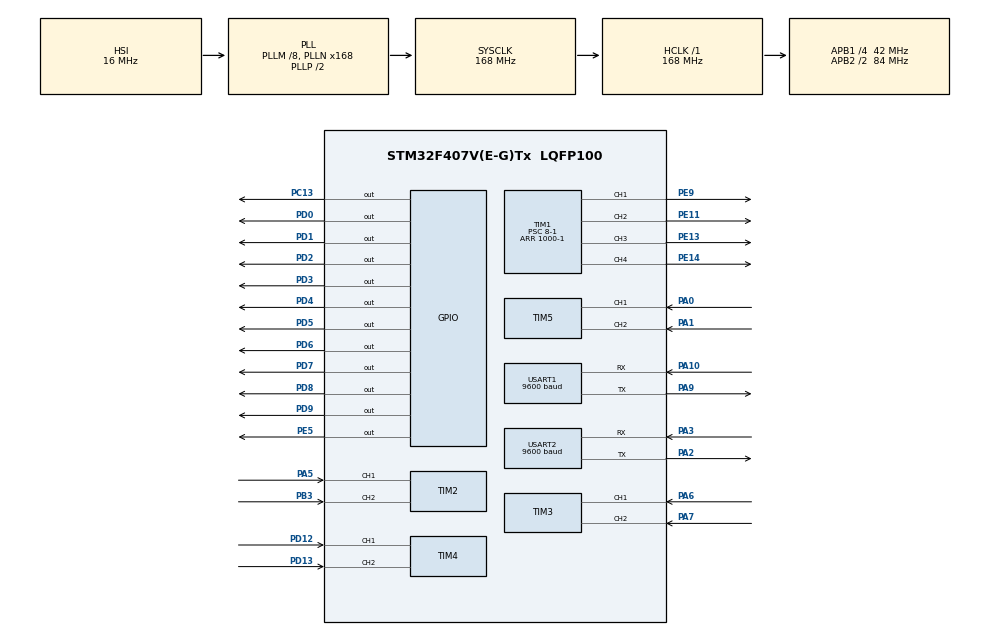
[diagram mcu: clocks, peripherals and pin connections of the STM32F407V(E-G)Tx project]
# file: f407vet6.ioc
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Dma.Request0=USART1_RX
Dma.Request1=USART1_TX
Dma.Request2=USART2_RX
Dma.Request3=USART2_TX
Dma.USART1_RX.0.Direction=DMA_PERIPH_TO_MEMORY
Dma.USART1_RX.0.FIFOMode=DMA_FIFOMODE_DISABLE
Dma.USART1_RX.0.Instance=DMA2_Stream2
Dma.USART1_RX.0.MemDataAlignment=DMA_MDATAALIGN_BYTE
Dma.USART1_RX.0.MemInc=DMA_MINC_ENABLE
Dma.USART1_RX.0.Mode=DMA_CIRCULAR
Dma.USART1_RX.0.PeriphDataAlignment=DMA_PDATAALIGN_BYTE
Dma.USART1_RX.0.PeriphInc=DMA_PINC_DISABLE
Dma.USART1_RX.0.Priority=DMA_PRIORITY_LOW
Dma.USART1_TX.1.Direction=DMA_MEMORY_TO_PERIPH
Dma.USART1_TX.1.FIFOMode=DMA_FIFOMODE_DISABLE
Dma.USART1_TX.1.Instance=DMA2_Stream7
Dma.USART1_TX.1.MemDataAlignment=DMA_MDATAALIGN_BYTE
Dma.USART1_TX.1.MemInc=DMA_MINC_ENABLE
Dma.USART1_TX.1.Mode=DMA_NORMAL
Dma.USART1_TX.1.PeriphDataAlignment=DMA_PDATAALIGN_BYTE
Dma.USART1_TX.1.PeriphInc=DMA_PINC_DISABLE
Dma.USART1_TX.1.Priority=DMA_PRIORITY_LOW
Dma.USART2_RX.2.Direction=DMA_PERIPH_TO_MEMORY
Dma.USART2_RX.2.FIFOMode=DMA_FIFOMODE_DISABLE
Dma.USART2_RX.2.Instance=DMA1_Stream5
Dma.USART2_RX.2.MemDataAlignment=DMA_MDATAALIGN_BYTE
Dma.USART2_RX.2.MemInc=DMA_MINC_ENABLE
Dma.USART2_RX.2.Mode=DMA_CIRCULAR
Dma.USART2_RX.2.PeriphDataAlignment=DMA_PDATAALIGN_BYTE
Dma.USART2_RX.2.PeriphInc=DMA_PINC_DISABLE
Dma.USART2_RX.2.Priority=DMA_PRIORITY_LOW
Dma.USART2_TX.3.Direction=DMA_MEMORY_TO_PERIPH
Dma.USART2_TX.3.FIFOMode=DMA_FIFOMODE_DISABLE
Dma.USART2_TX.3.Instance=DMA1_Stream6
Dma.USART2_TX.3.MemDataAlignment=DMA_MDATAALIGN_BYTE
Dma.USART2_TX.3.MemInc=DMA_MINC_ENABLE
Dma.USART2_TX.3.Mode=DMA_NORMAL
Dma.USART2_TX.3.PeriphDataAlignment=DMA_PDATAALIGN_BYTE
Dma.USART2_TX.3.PeriphInc=DMA_PINC_DISABLE
Dma.USART2_TX.3.Priority=DMA_PRIORITY_LOW
FREERTOS.Tasks01=defaultTask,24,128,StartDefaultTask,Default,NULL,Dynamic,NULL,NULL;MonitorTask,8,512,RTOS_Monitor_StartTask,As weak,NULL,Dynamic,NULL,NULL;ControlTask,48,1024,RTOS_Control_StartTask,As weak,NULL,Dynamic,NULL,NULL;UARTTask,24,1024,RTOS_UART_StartTask,As weak,NULL,Dynamic,NULL,NULL
Mcu.Family=STM32F4
Mcu.Name=STM32F407V(E-G)Tx
Mcu.Package=LQFP100
NVIC.DMA1_Stream5_IRQn=true\:5\:0\:false\:false\:true\:true\:false\:true\:true
NVIC.DMA1_Stream6_IRQn=true\:5\:0\:false\:false\:true\:true\:false\:true\:true
NVIC.DMA2_Stream2_IRQn=true\:5\:0\:false\:false\:true\:true\:false\:true\:true
NVIC.DMA2_Stream7_IRQn=true\:5\:0\:false\:false\:true\:true\:false\:true\:true
NVIC.PriorityGroup=NVIC_PRIORITYGROUP_4
NVIC.TIM7_IRQn=true\:15\:0\:false\:false\:true\:false\:false\:true\:true
NVIC.TimeBase=TIM7_IRQn
NVIC.TimeBaseIP=TIM7
NVIC.USART1_IRQn=true\:5\:0\:false\:false\:true\:true\:true\:true\:true
PA0-WKUP.Signal=S_TIM5_CH1
PA1.Signal=S_TIM5_CH2
PA10.Mode=Asynchronous
PA10.Signal=USART1_RX
PA13.Mode=Serial_Wire
PA13.Signal=SYS_JTMS-SWDIO
PA14.Mode=Serial_Wire
PA14.Signal=SYS_JTCK-SWCLK
PA2.Mode=Asynchronous
PA2.Signal=USART2_TX
PA3.Mode=Asynchronous
PA3.Signal=USART2_RX
PA5.Signal=S_TIM2_CH1_ETR
PA6.Signal=S_TIM3_CH1
PA7.Signal=S_TIM3_CH2
PA9.Mode=Asynchronous
PA9.Signal=USART1_TX
PB3.Signal=S_TIM2_CH2
PC13-ANTI_TAMP.Signal=GPIO_Output
PD0.Signal=GPIO_Output
PD1.Signal=GPIO_Output
PD12.Signal=S_TIM4_CH1
PD13.Signal=S_TIM4_CH2
PD2.Signal=GPIO_Output
PD3.Signal=GPIO_Output
PD4.Signal=GPIO_Output
PD5.Signal=GPIO_Output
PD6.Signal=GPIO_Output
PD7.Signal=GPIO_Output
PD8.Signal=GPIO_Output
PD9.Signal=GPIO_Output
PE11.Signal=S_TIM1_CH2
PE13.Signal=S_TIM1_CH3
PE14.Signal=S_TIM1_CH4
PE5.Signal=GPIO_Output
PE9.Signal=S_TIM1_CH1
PH0-OSC_IN.Mode=HSE-External-Oscillator
PH0-OSC_IN.Signal=RCC_OSC_IN
PH1-OSC_OUT.Mode=HSE-External-Oscillator
PH1-OSC_OUT.Signal=RCC_OSC_OUT
ProjectManager.HeapSize=0x200
ProjectManager.StackSize=0x400
ProjectManager.TargetToolchain=CMake
RCC.48MHZClocksFreq_Value=84000000
RCC.AHBFreq_Value=168000000
RCC.APB1CLKDivider=RCC_HCLK_DIV4
RCC.APB1Freq_Value=42000000
RCC.APB1TimFreq_Value=84000000
RCC.APB2CLKDivider=RCC_HCLK_DIV2
RCC.APB2Freq_Value=84000000
RCC.APB2TimFreq_Value=168000000
RCC.CortexFreq_Value=168000000
RCC.HCLKFreq_Value=168000000
RCC.HSE_VALUE=25000000
RCC.HSI_VALUE=16000000
RCC.LSE_VALUE=32768
RCC.PLLM=8
RCC.PLLN=168
RCC.SYSCLKFreq_VALUE=168000000
RCC.SYSCLKSource=RCC_SYSCLKSOURCE_PLLCLK
RCC.VCOOutputFreq_Value=336000000
SH.S_TIM1_CH1.0=TIM1_CH1,PWM Generation1 CH1
SH.S_TIM1_CH2.0=TIM1_CH2,PWM Generation2 CH2
SH.S_TIM1_CH3.0=TIM1_CH3,PWM Generation3 CH3
SH.S_TIM1_CH4.0=TIM1_CH4,PWM Generation4 CH4
SH.S_TIM2_CH1_ETR.0=TIM2_CH1,Encoder_Interface
SH.S_TIM2_CH2.0=TIM2_CH2,Encoder_Interface
SH.S_TIM3_CH1.0=TIM3_CH1,Encoder_Interface
SH.S_TIM3_CH2.0=TIM3_CH2,Encoder_Interface
SH.S_TIM4_CH1.0=TIM4_CH1,Encoder_Interface
SH.S_TIM4_CH2.0=TIM4_CH2,Encoder_Interface
SH.S_TIM5_CH1.0=TIM5_CH1,Encoder_Interface
SH.S_TIM5_CH2.0=TIM5_CH2,Encoder_Interface
TIM1.Channel-PWM\ Generation1\ CH1=TIM_CHANNEL_1
TIM1.Channel-PWM\ Generation2\ CH2=TIM_CHANNEL_2
TIM1.Channel-PWM\ Generation3\ CH3=TIM_CHANNEL_3
TIM1.Channel-PWM\ Generation4\ CH4=TIM_CHANNEL_4
TIM1.Period=1000-1
TIM1.Prescaler=8-1
TIM2.EncoderMode=TIM_ENCODERMODE_TI12
TIM2.IC1Filter=15
TIM2.IC2Filter=15
TIM3.EncoderMode=TIM_ENCODERMODE_TI12
TIM3.IC1Filter=15
TIM3.IC2Filter=15
TIM4.EncoderMode=TIM_ENCODERMODE_TI12
TIM4.IC1Filter=15
TIM4.IC2Filter=15
TIM5.EncoderMode=TIM_ENCODERMODE_TI12
TIM5.IC1Filter=15
TIM5.IC2Filter=15
USART1.BaudRate=9600
USART1.VirtualMode=VM_ASYNC
USART2.BaudRate=9600
USART2.VirtualMode=VM_ASYNC
VP_FREERTOS_VS_CMSIS_V2.Mode=CMSIS_V2
VP_SYS_VS_tim7.Mode=TIM7
VP_TIM1_VS_ClockSourceINT.Mode=Internal
board=custom

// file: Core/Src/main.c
/* USER CODE BEGIN Header */
/**
  ******************************************************************************
  * @file           : main.c
  * @brief          : Main program body
  ******************************************************************************
  * @attention
  *
  * Copyright (c) 2026 STMicroelectronics.
  * All rights reserved.
  *
  * This software is licensed under terms that can be found in the LICENSE file
  * in the root directory of this software component.
  * If no LICENSE file comes with this software, it is provided AS-IS.
  *
  ******************************************************************************
  */
/* USER CODE END Header */
#include "main.h"
#include "cmsis_os.h"
#include "dma.h"
#include "tim.h"
#include "usart.h"
#include "gpio.h"
#include "crc.h"
#include "rng.h"

/* USER CODE BEGIN Includes */
#include "system_delay.h"
#if defined(SYS_LOG_USE_RTT)
#include "system_log.h"
#include "system_log_rtt.h"
#endif
/* USER CODE END Includes */

/* USER CODE BEGIN PV */
#if defined(SYS_LOG_USE_RTT)
static system_log_rtt_t s_log_rtt;
#endif

/* USER CODE END PV */

void SystemClock_Config(void);
void MX_FREERTOS_Init(void);

int main(void)
{

  /* MCU Configuration--------------------------------------------------------*/

  /* Reset of all peripherals, Initializes the Flash interface and the Systick. */
  HAL_Init();

  /* Configure the system clock */
  SystemClock_Config();

  /* Initialize all configured peripherals */
  MX_GPIO_Init();
  MX_DMA_Init();
  MX_TIM1_Init();
  MX_USART1_UART_Init();
  MX_TIM2_Init();
  MX_TIM3_Init();
  MX_TIM4_Init();
  MX_TIM5_Init();
  MX_USART2_UART_Init();
  MX_CRC_Init();
  MX_RNG_Init();
  /* USER CODE BEGIN 2 */
  Sys_Delay_Init();
#if defined(SYS_LOG_USE_RTT)
  Sys_Log_RTT_Init(&s_log_rtt, "rtt", 0u);
  Sys_Log_Init(&s_log_rtt.base);
  Sys_Log_SetLevel(SYS_LOG_LEVEL_INFO);
  SYS_LOG_INFO("BOOT", "RTT log initialized");
#endif
  /* USER CODE END 2 */

  /* Init scheduler */
  osKernelInitialize();  /* Call init function for freertos objects (in cmsis_os2.c) */
  MX_FREERTOS_Init();

  /* Start scheduler */
  osKernelStart();

  /* We should never get here as control is now taken by the scheduler */

  /* Infinite loop */
  while (1)
  {

  }
}

void SystemClock_Config(void)
{
  RCC_OscInitTypeDef RCC_OscInitStruct = {0};
  RCC_ClkInitTypeDef RCC_ClkInitStruct = {0};

  /** Configure the main internal regulator output voltage
  */
  __HAL_RCC_PWR_CLK_ENABLE();
  __HAL_PWR_VOLTAGESCALING_CONFIG(PWR_REGULATOR_VOLTAGE_SCALE1);

  /** Initializes the RCC Oscillators according to the specified parameters
  * in the RCC_OscInitTypeDef structure.
  */
  RCC_OscInitStruct.OscillatorType = RCC_OSCILLATORTYPE_HSI;
  RCC_OscInitStruct.HSIState = RCC_HSI_ON;
  RCC_OscInitStruct.HSICalibrationValue = RCC_HSICALIBRATION_DEFAULT;
  RCC_OscInitStruct.PLL.PLLState = RCC_PLL_ON;
  RCC_OscInitStruct.PLL.PLLSource = RCC_PLLSOURCE_HSI;
  RCC_OscInitStruct.PLL.PLLM = 8;
  RCC_OscInitStruct.PLL.PLLN = 168;
  RCC_OscInitStruct.PLL.PLLP = RCC_PLLP_DIV2;
  RCC_OscInitStruct.PLL.PLLQ = 4;
  if (HAL_RCC_OscConfig(&RCC_OscInitStruct) != HAL_OK)
  {
    Error_Handler();
  }

  /** Initializes the CPU, AHB and APB buses clocks
  */
  RCC_ClkInitStruct.ClockType = RCC_CLOCKTYPE_HCLK|RCC_CLOCKTYPE_SYSCLK
                              |RCC_CLOCKTYPE_PCLK1|RCC_CLOCKTYPE_PCLK2;
  RCC_ClkInitStruct.SYSCLKSource = RCC_SYSCLKSOURCE_PLLCLK;
  RCC_ClkInitStruct.AHBCLKDivider = RCC_SYSCLK_DIV1;
  RCC_ClkInitStruct.APB1CLKDivider = RCC_HCLK_DIV4;
  RCC_ClkInitStruct.APB2CLKDivider = RCC_HCLK_DIV2;

  if (HAL_RCC_ClockConfig(&RCC_ClkInitStruct, FLASH_LATENCY_5) != HAL_OK)
  {
    Error_Handler();
  }
}

void HAL_TIM_PeriodElapsedCallback(TIM_HandleTypeDef *htim)
{
  if (htim->Instance == TIM7)
  {
    HAL_IncTick();
  }
}

void Error_Handler(void)
{
  __disable_irq();
  while (1)
  {
  }
}
